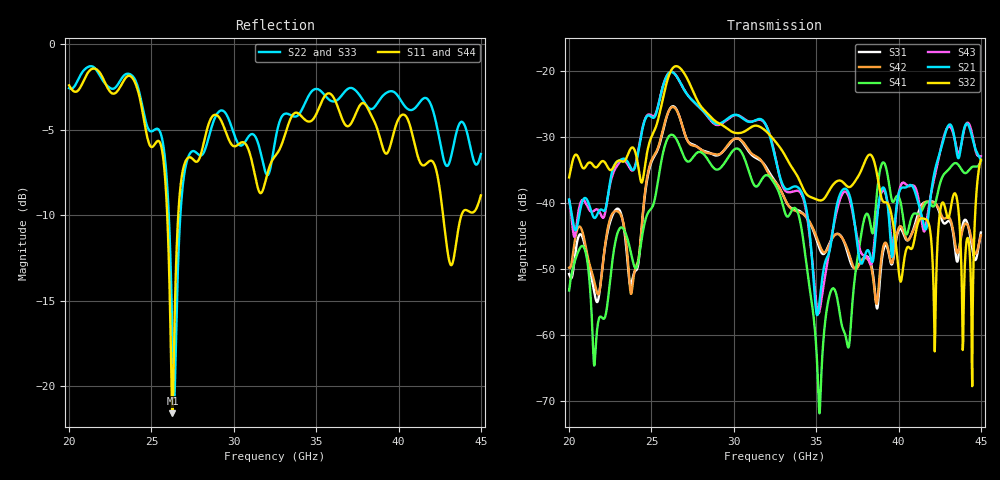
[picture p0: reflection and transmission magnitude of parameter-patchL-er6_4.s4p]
! TOUCHSTONE file generated by CST MICROWAVE STUDIO
! Date and time: Fri Jun  7 19:41:16 2024
! Project name: Final_26GHz_linear.cst
! Parameters = {Connector_spacing=15.33; Coplanar_gap=0.425; Distance_inner=4.78238; Distance_outer=14.3471; L=2.444; L_pad=5; Length_strip_inner=24.3248; Length_strip_outer=27.8328; Pad_via_diameter=2.1; Pad_via_x_centre=3.75; Pad_via_z_centre=2.8; Patch_spacing=5.76524; Via_diameter=0.4; Via_spaci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
! Header version: 2024
! Port assignment regex: !\s*Touchstone port\s*([0-9]+)\s*=\s*(CST MWS port|CST DES external port|CST DES block port)\s*(.+)\s* \(\"(.*)\"\)(\s*mode\s*([0-9]+))?.*
! Touchstone port assignment:
! Touchstone port 1 = CST MWS port 1 ("")
! Touchstone port 2 = CST MWS port 2 ("")
! Touchstone port 3 = CST MWS port 3 ("")
! Touchstone port 4 = CST MWS port 4 ("")
# GHz S MA R 50
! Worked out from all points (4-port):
!   1001 points, 20 GHz to 45 GHz, reference 50 ohm
!   strongest paths, dB at 20 GHz, 26.25 GHz, 32.5 GHz, 38.75 GHz, 45 GHz:
!     S32: -36.1, -19.7, -30.6, -36.4, -33.5
!     S21: -39.5, -20.2, -33.0, -41.0, -33.5
!     S43: -39.5, -20.2, -32.8, -40.9, -32.9
!     S41: -53.2, -29.7, -37.2, -37.1, -33.7
!     S42: -49.8, -25.5, -36.8, -54.0, -44.9
!     S31: -50.7, -25.4, -36.7, -55.3, -44.5
!   lowest |S11| = -21.6 dB at 26.27 GHz (marker M1), VSWR 1.18, Z = 52.9 - j8.08 ohm
!   |S11| at or under -10 dB: 25.96 GHz to 26.63 GHz (669.6 MHz wide, 2.55 % of centre); 42.7 GHz to 43.82 GHz (1.116 GHz wide, 2.58 % of centre)
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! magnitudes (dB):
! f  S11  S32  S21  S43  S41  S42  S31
! 20 GHz  -2.4  -36.1  -39.5  -39.5  -53.2  -49.8  -50.7
! 26.27 GHz  -21.6  -19.7  -20.2  -20.2  -29.7  -25.5  -25.4
! 33.8 GHz  -4.0  -35.7  -37.5  -38.1  -41.0  -41.2  -41.0
! 35.2 GHz  -3.7  -39.6  -55.1  -56.3  -71.8  -46.3  -46.9
! 39.02 GHz  -6.0  -39.6  -37.7  -38.2  -33.9  -47.2  -47.9
! 44.45 GHz  -9.8  -64.2  -29.9  -29.4  -34.6  -45.6  -46.5
! 45 GHz  -8.8  -33.5  -33.5  -32.9  -33.7  -44.9  -44.5
